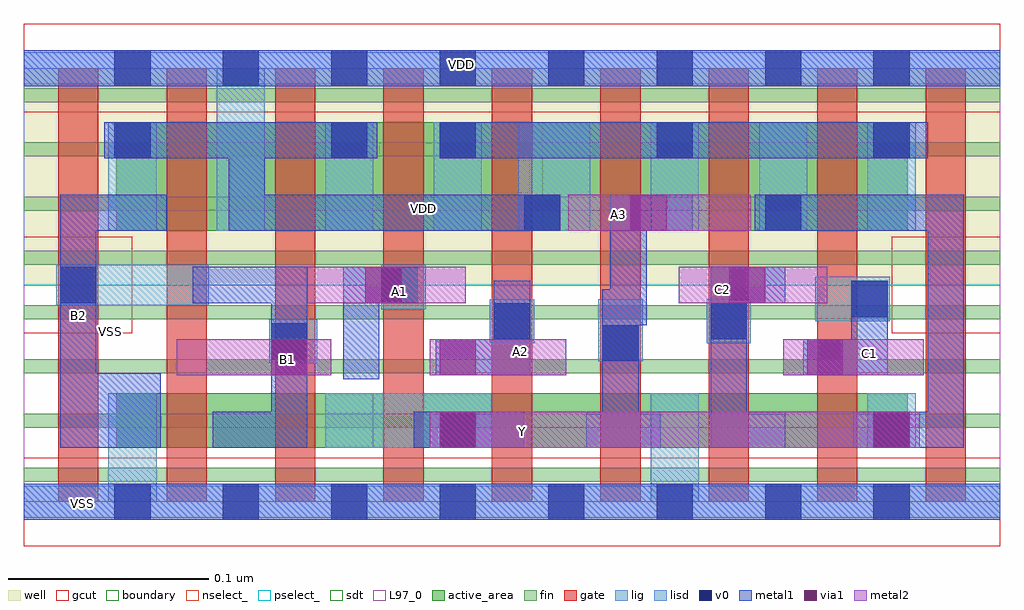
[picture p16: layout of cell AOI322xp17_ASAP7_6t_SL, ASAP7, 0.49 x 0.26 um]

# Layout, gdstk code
import gdstk
lib = gdstk.Library(unit=1e-6, precision=2.5e-10)
def R(c, l, rs):  # rectangles x0, y0, x1, y1
    for r in rs: c.add(gdstk.rectangle(r[:2], r[2:], *l))
def A(c, l, x, y, w, h, nx, ny, dx, dy):  # array of equal rectangles
    R(c, l, [(x+i*dx, y+j*dy, x+i*dx+w, y+j*dy+h) for i in range(nx) for j in range(ny)])
def P(c, l, *ps):  # polygons
    for p in ps: c.add(gdstk.Polygon(p, *l))
well = (1, 0)
fin = (2, 0)
gate = (7, 0)
gcut = (10, 0)
active_area = (11, 0)
nselect_ = (12, 0)
pselect_ = (13, 0)
lig = (16, 0)
lisd = (17, 0)
v0 = (18, 0)
metal1 = (19, 0)
metal2 = (20, 0)
via1 = (21, 0)
sdt = (88, 0)
L97_0 = (97, 0)
boundary = (100, 0)

aoi322xp17_asap7_6t_sl = lib.new_cell('AOI322xp17_ASAP7_6t_SL')
R(aoi322xp17_asap7_6t_sl, well, [(0,0.108,0.486,0.216)])
A(aoi322xp17_asap7_6t_sl, fin, 0, 0.01, 0.486, 0.007, 1, 8, 0, 0.027)
A(aoi322xp17_asap7_6t_sl, gate, 0.017, 0, 0.02, 0.216, 9, 1, 0.054, 0)
R(aoi322xp17_asap7_6t_sl, gcut, [(0,-0.022,0.486,0.022), (0,0.084,0.054,0.132), (0.432,0.084,0.486,0.132), (0,0.194,0.486,0.238)])
R(aoi322xp17_asap7_6t_sl, active_area, [(0.046,0.027,0.44,0.054), (0.046,0.135,0.44,0.189)])
R(aoi322xp17_asap7_6t_sl, nselect_, [(0,0,0.486,0.108)])
R(aoi322xp17_asap7_6t_sl, pselect_, [(0,0.108,0.486,0.216)])
R(aoi322xp17_asap7_6t_sl, lig, [(0,-0.008,0.486,0.008), (0.122,0.069,0.146,0.091), (0.286,0.07,0.308,0.101), (0.232,0.079,0.254,0.101), (0.34,0.079,0.362,0.101), (0.394,0.09,0.431,0.112), (0.178,0.096,0.2,0.118), (0.016,0.098,0.092,0.118), (0,0.208,0.486,0.224)])
A(aoi322xp17_asap7_6t_sl, lisd, 0.312, 0.135, 0.024, 0.054, 3, 1, 0.054, 0)
R(aoi322xp17_asap7_6t_sl, lisd, [(0.042,0,0.066,0.054), (0.312,0,0.336,0.054), (0.15,0.027,0.233,0.054), (0.42,0.027,0.444,0.054), (0.042,0.135,0.066,0.189), (0.096,0.135,0.12,0.216), (0.15,0.135,0.174,0.189), (0.204,0.135,0.228,0.189), (0.246,0.135,0.282,0.189)])
A(aoi322xp17_asap7_6t_sl, v0, 0.045, -0.009, 0.018, 0.018, 8, 2, 0.054, 0.216)
A(aoi322xp17_asap7_6t_sl, v0, 0.207, 0.171, 0.018, 0.018, 3, 1, 0.108, 0)
R(aoi322xp17_asap7_6t_sl, v0, [(0.207,0.027,0.225,0.045), (0.423,0.027,0.441,0.045), (0.288,0.07,0.306,0.088), (0.123,0.071,0.141,0.089), (0.234,0.081,0.252,0.099), (0.342,0.081,0.36,0.099), (0.412,0.092,0.43,0.11), (0.018,0.099,0.036,0.117), (0.178,0.099,0.196,0.117), (0.249,0.135,0.267,0.153), (0.369,0.135,0.387,0.153), (0.045,0.171,0.063,0.189), (0.153,0.171,0.171,0.189)])
R(aoi322xp17_asap7_6t_sl, metal1, [(0,-0.009,0.486,0.009), (0.194,0.027,0.249,0.045), (0.288,0.088,0.31,0.106), (0.292,0.088,0.31,0.153), (0.292,0.135,0.333,0.153), (0.207,0.171,0.45,0.189), (0,0.207,0.486,0.225)])
P(aoi322xp17_asap7_6t_sl, metal1, [(0.267,0.135),(0.102,0.135),(0.102,0.171),(0.04,0.171),(0.04,0.189),(0.176,0.189),(0.176,0.171),(0.12,0.171),(0.12,0.153),(0.267,0.153)],
  [(0.252,0.063),(0.205,0.063),(0.205,0.081),(0.234,0.081),(0.234,0.11),(0.252,0.11)],
  [(0.468,0.027),(0.413,0.027),(0.413,0.045),(0.45,0.045),(0.45,0.135),(0.364,0.135),(0.364,0.153),(0.468,0.153)],
  [(0.43,0.063),(0.388,0.063),(0.388,0.081),(0.412,0.081),(0.412,0.11),(0.43,0.11)],
  [(0.379,0.099),(0.36,0.099),(0.36,0.045),(0.379,0.045),(0.379,0.027),(0.342,0.027),(0.342,0.117),(0.379,0.117)],
  [(0.317,0.027),(0.28,0.027),(0.28,0.045),(0.288,0.045),(0.288,0.088),(0.306,0.088),(0.306,0.045),(0.317,0.045)],
  [(0.071,0.135),(0.036,0.135),(0.036,0.064),(0.068,0.064),(0.068,0.027),(0.018,0.027),(0.018,0.153),(0.071,0.153)],
  [(0.141,0.027),(0.094,0.027),(0.094,0.045),(0.123,0.045),(0.123,0.099),(0.084,0.099),(0.084,0.117),(0.141,0.117)],
  [(0.196,0.099),(0.177,0.099),(0.177,0.061),(0.159,0.061),(0.159,0.117),(0.196,0.117)])
R(aoi322xp17_asap7_6t_sl, metal2, [(0.202,0.027,0.446,0.045), (0.076,0.063,0.153,0.081), (0.202,0.063,0.27,0.081), (0.378,0.063,0.448,0.081), (0.141,0.099,0.22,0.117), (0.326,0.099,0.4,0.117), (0.271,0.135,0.362,0.153)])
R(aoi322xp17_asap7_6t_sl, via1, [(0.207,0.027,0.225,0.045), (0.423,0.027,0.441,0.045), (0.123,0.063,0.141,0.081), (0.207,0.063,0.225,0.081), (0.39,0.063,0.408,0.081), (0.17,0.099,0.188,0.117), (0.351,0.099,0.369,0.117), (0.302,0.135,0.32,0.153)])
A(aoi322xp17_asap7_6t_sl, sdt, 0.042, 0.135, 0.024, 0.054, 8, 1, 0.054, 0)
R(aoi322xp17_asap7_6t_sl, sdt, [(0.042,0.027,0.066,0.054), (0.15,0.027,0.174,0.054), (0.312,0.027,0.336,0.054), (0.42,0.027,0.444,0.054)])
R(aoi322xp17_asap7_6t_sl, L97_0, [(0,0,0.486,0.216)])
R(aoi322xp17_asap7_6t_sl, boundary, [(0,0,0.486,0.216)])
aoi322xp17_asap7_6t_sl.add(gdstk.Label('C2', (0.348,0.106), layer=20, texttype=251))
aoi322xp17_asap7_6t_sl.add(gdstk.Label('A1', (0.187,0.105), layer=20, texttype=251))
aoi322xp17_asap7_6t_sl.add(gdstk.Label('A2', (0.247,0.075), layer=20, texttype=251))
aoi322xp17_asap7_6t_sl.add(gdstk.Label('C1', (0.421,0.074), layer=20, texttype=251))
aoi322xp17_asap7_6t_sl.add(gdstk.Label('B1', (0.131,0.071), layer=20, texttype=251))
aoi322xp17_asap7_6t_sl.add(gdstk.Label('Y', (0.248,0.035), layer=20, texttype=251))
aoi322xp17_asap7_6t_sl.add(gdstk.Label('A3', (0.296,0.143), layer=20, texttype=251))
aoi322xp17_asap7_6t_sl.add(gdstk.Label('VSS', (0.029,-0.001), layer=19, texttype=251))
aoi322xp17_asap7_6t_sl.add(gdstk.Label('B2', (0.027,0.093), layer=19, texttype=251))
aoi322xp17_asap7_6t_sl.add(gdstk.Label('VDD', (0.218,0.218), layer=19, texttype=251))
aoi322xp17_asap7_6t_sl.add(gdstk.Label('VSS', (0.043,0.085), layer=3, texttype=251))
aoi322xp17_asap7_6t_sl.add(gdstk.Label('VDD', (0.199,0.146), layer=1, texttype=251))

lib.write_gds('AOI322xp17_ASAP7_6t_SL.gds')
